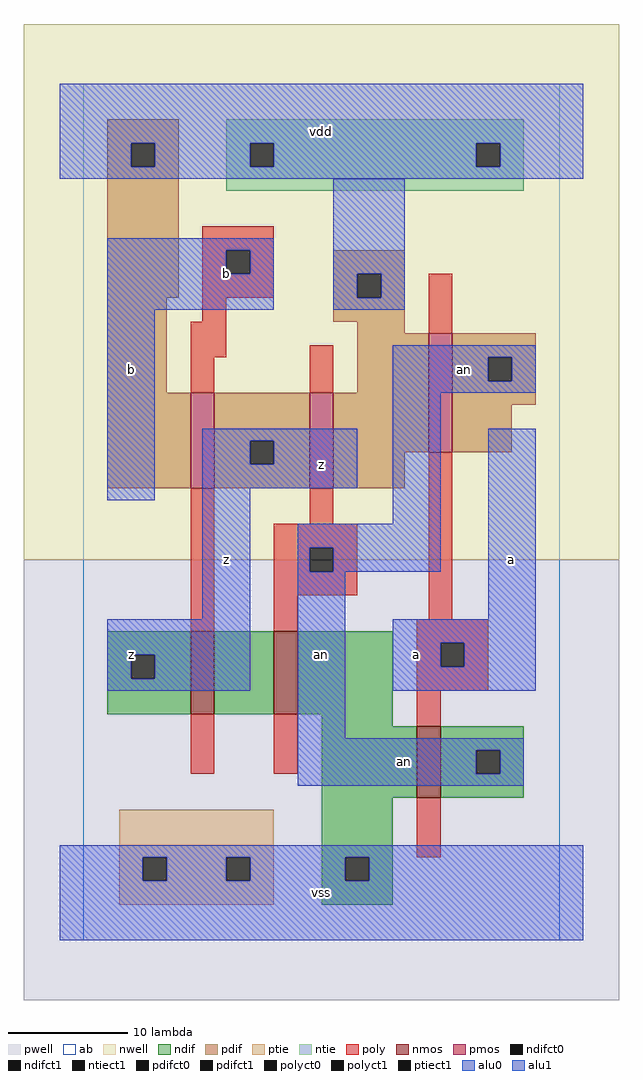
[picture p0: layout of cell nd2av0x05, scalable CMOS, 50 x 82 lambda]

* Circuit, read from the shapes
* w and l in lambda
.subckt nd2av0x05 a an b vdd vss z
M1 n1 b z vss nfet w=7 l=2
M2 vss an n1 vss nfet w=7 l=2
M3 an a vss vss nfet w=6 l=2
M4 z b vdd vdd pfet w=8 l=2
M5 vdd an z vdd pfet w=8 l=2
M6 an a vdd vdd pfet w=10 l=2
.ends

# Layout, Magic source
magic
tech scmos
<< ab >>
rect 0 0 40 72
<< nwell >>
rect -5 32 45 77
<< pwell >>
rect -5 -5 45 32
<< poly >>
rect 10 58 16 60
rect 10 56 12 58
rect 14 56 16 58
rect 10 54 16 56
rect 10 52 12 54
rect 9 49 12 52
rect 29 51 31 56
rect 9 46 11 49
rect 19 46 21 50
rect 9 26 11 38
rect 19 35 21 38
rect 16 33 23 35
rect 16 31 19 33
rect 21 31 23 33
rect 16 29 23 31
rect 16 26 18 29
rect 29 27 31 41
rect 9 14 11 19
rect 16 14 18 19
rect 28 25 34 27
rect 28 23 30 25
rect 32 23 34 25
rect 28 21 34 23
rect 28 18 30 21
rect 28 7 30 12
<< ndif >>
rect 2 24 9 26
rect 2 22 4 24
rect 6 22 9 24
rect 2 19 9 22
rect 11 19 16 26
rect 18 19 26 26
rect 20 18 26 19
rect 20 12 28 18
rect 30 16 37 18
rect 30 14 33 16
rect 35 14 37 16
rect 30 12 37 14
rect 20 7 26 12
rect 20 5 22 7
rect 24 5 26 7
rect 20 3 26 5
<< pdif >>
rect 2 67 8 69
rect 2 65 4 67
rect 6 65 8 67
rect 2 54 8 65
rect 21 56 27 58
rect 21 54 23 56
rect 25 54 27 56
rect 2 46 7 54
rect 21 52 27 54
rect 23 51 27 52
rect 23 46 29 51
rect 2 38 9 46
rect 11 42 19 46
rect 11 40 14 42
rect 16 40 19 42
rect 11 38 19 40
rect 21 41 29 46
rect 31 49 38 51
rect 31 47 34 49
rect 36 47 38 49
rect 31 45 38 47
rect 31 41 36 45
rect 21 38 27 41
<< alu1 >>
rect -2 67 42 72
rect -2 65 4 67
rect 6 65 14 67
rect 16 65 33 67
rect 35 65 42 67
rect -2 64 42 65
rect 2 58 16 59
rect 2 56 12 58
rect 14 56 16 58
rect 2 53 16 56
rect 2 37 6 53
rect 10 42 23 43
rect 10 40 14 42
rect 16 40 23 42
rect 10 38 23 40
rect 10 27 14 38
rect 2 24 14 27
rect 2 22 4 24
rect 6 22 14 24
rect 2 21 14 22
rect 34 27 38 43
rect 26 25 38 27
rect 26 23 30 25
rect 32 23 38 25
rect 26 21 38 23
rect -2 7 42 8
rect -2 5 5 7
rect 7 5 12 7
rect 14 5 22 7
rect 24 5 42 7
rect -2 0 42 5
<< ptie >>
rect 3 7 16 11
rect 3 5 5 7
rect 7 5 12 7
rect 14 5 16 7
rect 3 3 16 5
<< ntie >>
rect 12 67 37 69
rect 12 65 14 67
rect 16 65 33 67
rect 35 65 37 67
rect 12 63 37 65
<< nmos >>
rect 9 19 11 26
rect 16 19 18 26
rect 28 12 30 18
<< pmos >>
rect 9 38 11 46
rect 19 38 21 46
rect 29 41 31 51
<< polyct0 >>
rect 19 31 21 33
<< polyct1 >>
rect 12 56 14 58
rect 30 23 32 25
<< ndifct0 >>
rect 33 14 35 16
<< ndifct1 >>
rect 4 22 6 24
rect 22 5 24 7
<< ntiect1 >>
rect 14 65 16 67
rect 33 65 35 67
<< ptiect1 >>
rect 5 5 7 7
rect 12 5 14 7
<< pdifct0 >>
rect 23 54 25 56
rect 34 47 36 49
<< pdifct1 >>
rect 4 65 6 67
rect 14 40 16 42
<< alu0 >>
rect 21 56 27 64
rect 21 54 23 56
rect 25 54 27 56
rect 21 53 27 54
rect 26 49 38 50
rect 26 47 34 49
rect 36 47 38 49
rect 26 46 38 47
rect 26 35 30 46
rect 18 33 30 35
rect 18 31 19 33
rect 21 31 30 33
rect 18 17 22 31
rect 18 16 37 17
rect 18 14 33 16
rect 35 14 37 16
rect 18 13 37 14
<< labels >>
rlabel alu0 20 24 20 24 6 an
rlabel alu0 27 15 27 15 6 an
rlabel alu0 32 48 32 48 6 an
rlabel alu1 4 24 4 24 6 z
rlabel alu1 4 48 4 48 6 b
rlabel alu1 12 32 12 32 6 z
rlabel alu1 12 56 12 56 6 b
rlabel alu1 20 4 20 4 6 vss
rlabel alu1 28 24 28 24 6 a
rlabel alu1 20 40 20 40 6 z
rlabel alu1 20 68 20 68 6 vdd
rlabel alu1 36 32 36 32 6 a
<< end >>
